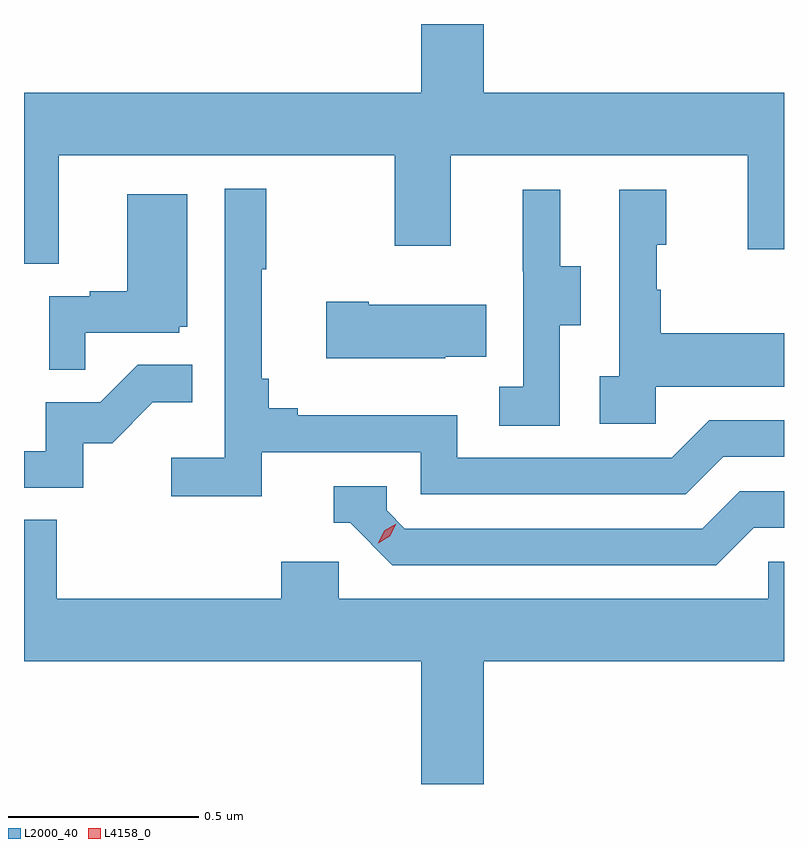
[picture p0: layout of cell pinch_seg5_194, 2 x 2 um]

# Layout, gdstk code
import gdstk
lib = gdstk.Library(unit=1e-6, precision=1e-09)
def P(c, l, *ps):  # polygons
    for p in ps: c.add(gdstk.Polygon(p, *l))
L2000_40 = (2000, 40)
L4158_0 = (4158, 0)

pinch_seg5_194 = lib.new_cell('pinch_seg5_194')
P(pinch_seg5_194, L2000_40, [(1135.081,875.408),(1135.966,875.408),(1135.966,875.169),(1136.113,875.169),(1136.113,875.408),(1136.894,875.408),(1136.894,875.16),(1136.99,875.16),(1136.99,875.572),(1136.2,875.572),(1136.2,875.753),(1136.036,875.753),(1136.036,875.572),(1134.99,875.572),(1134.99,875.122),(1135.081,875.122)],
  [(1135.616,874.626),(1136.034,874.626),(1136.034,874.515),(1136.731,874.515),(1136.83,874.614),(1136.99,874.614),(1136.99,874.71),(1136.793,874.71),(1136.694,874.611),(1136.13,874.611),(1136.13,874.723),(1135.711,874.723),(1135.711,874.742),(1135.634,874.742),(1135.634,874.819),(1135.615,874.819),(1135.615,875.107),(1135.627,875.107),(1135.627,875.32),(1135.518,875.32),(1135.518,874.612),(1135.377,874.612),(1135.377,874.51),(1135.616,874.51)],
  [(1136.652,874.799),(1136.99,874.799),(1136.99,874.939),(1136.665,874.939),(1136.665,875.054),(1136.655,875.054),(1136.655,875.172),(1136.68,875.172),(1136.68,875.317),(1136.556,875.317),(1136.556,874.826),(1136.505,874.826),(1136.505,874.701),(1136.652,874.701)],
  [(1136.4,874.96),(1136.455,874.96),(1136.455,875.115),(1136.401,875.115),(1136.401,875.317),(1136.303,875.317),(1136.303,875.103),(1136.304,875.103),(1136.304,874.799),(1136.241,874.799),(1136.241,874.696),(1136.4,874.696)],
  [(1135.151,874.941),(1135.398,874.941),(1135.398,874.956),(1135.42,874.956),(1135.42,875.305),(1135.262,875.305),(1135.262,875.05),(1135.163,875.05),(1135.163,875.037),(1135.056,875.037),(1135.056,874.843),(1135.151,874.843)],
  [(1136.099,874.877),(1136.207,874.877),(1136.207,875.014),(1135.897,875.014),(1135.897,875.022),(1135.785,875.022),(1135.785,874.874),(1136.099,874.874)],
  [(1135.146,874.65),(1135.222,874.65),(1135.329,874.757),(1135.433,874.757),(1135.433,874.856),(1135.289,874.856),(1135.191,874.758),(1135.047,874.758),(1135.047,874.629),(1134.99,874.629),(1134.99,874.533),(1135.146,874.533)],
  [(1136.911,874.428),(1136.99,874.428),(1136.99,874.524),(1136.874,874.524),(1136.775,874.425),(1135.992,874.425),(1135.944,874.473),(1135.944,874.536),(1135.805,874.536),(1135.805,874.44),(1135.848,874.44),(1135.959,874.329),(1136.812,874.329)],
  [(1136.2,874.076),(1136.99,874.076),(1136.99,874.338),(1136.949,874.338),(1136.949,874.24),(1135.818,874.24),(1135.818,874.338),(1135.667,874.338),(1135.667,874.24),(1135.076,874.24),(1135.076,874.448),(1134.99,874.448),(1134.99,874.076),(1136.036,874.076),(1136.036,873.753),(1136.2,873.753)])
P(pinch_seg5_194, L4158_0, [(1135.922,874.386),(1135.922,874.386),(1135.938,874.419),(1135.969,874.438),(1135.969,874.438),(1135.969,874.438),(1135.953,874.405),(1135.922,874.386)])

lib.write_gds('pinch_seg5_194.gds')
